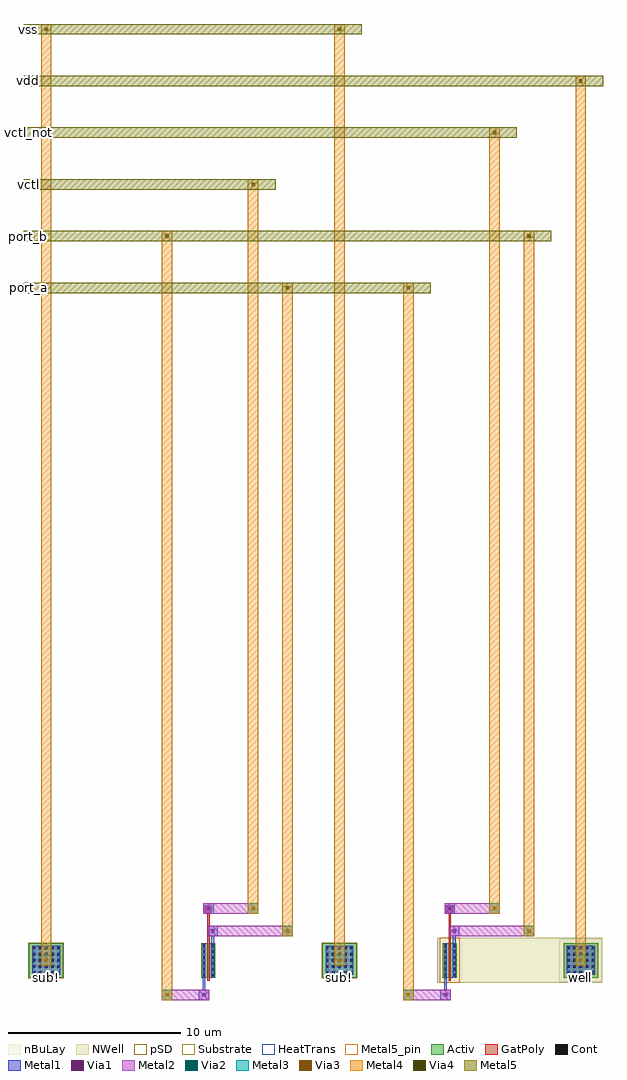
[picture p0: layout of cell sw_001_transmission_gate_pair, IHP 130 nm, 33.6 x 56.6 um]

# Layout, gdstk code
import gdstk
lib = gdstk.Library(unit=1e-6, precision=1e-09)
def R(c, l, rs):  # rectangles x0, y0, x1, y1
    for r in rs: c.add(gdstk.rectangle(r[:2], r[2:], *l))
def A(c, l, x, y, w, h, nx, ny, dx, dy):  # array of equal rectangles
    R(c, l, [(x+i*dx, y+j*dy, x+i*dx+w, y+j*dy+h) for i in range(nx) for j in range(ny)])
Activ = (1, 0)
GatPoly = (5, 0)
Cont = (6, 0)
Metal1 = (8, 0)
Metal2 = (10, 0)
pSD = (14, 0)
Via1 = (19, 0)
Via2 = (29, 0)
Metal3 = (30, 0)
NWell = (31, 0)
nBuLay = (32, 0)
Substrate = (40, 0)
Via3 = (49, 0)
Metal4 = (50, 0)
HeatTrans = (51, 0)
Via4 = (66, 0)
Metal5 = (67, 0)
Metal5_pin = (67, 2)

sw_001_transmission_gate = lib.new_cell('sw_001_transmission_gate_pair')
R(sw_001_transmission_gate, Activ, [(0,0,2,2), (10,0,10.3,0.3), (10,0,10.81,2), (10.51,0,10.81,0.3), (17,0,19,2), (24,0,24.3,0.3), (24,0,24.81,2), (24.51,0,24.81,0.3), (31,0,33,2)])
R(sw_001_transmission_gate, GatPoly, [(10.34,-0.18,10.47,2.18), (24.34,-0.18,24.47,2.18), (24.34,-0.18,24.47,2.18), (10.34,1.9,10.47,4.2), (24.34,1.9,24.47,4.2), (10.205,3.8,10.605,4.2), (24.205,3.8,24.605,4.2)])
A(sw_001_transmission_gate, Cont, 10.07, 0.07, 0.16, 0.16, 1, 6, 0, 0.34)
A(sw_001_transmission_gate, Cont, 10.58, 0.07, 0.16, 0.16, 1, 6, 0, 0.34)
A(sw_001_transmission_gate, Cont, 24.07, 0.07, 0.16, 0.16, 1, 6, 0, 0.34)
A(sw_001_transmission_gate, Cont, 24.58, 0.07, 0.16, 0.16, 1, 6, 0, 0.34)
A(sw_001_transmission_gate, Cont, 0.2, 0.2, 0.16, 0.16, 5, 5, 0.36, 0.36)
A(sw_001_transmission_gate, Cont, 17.2, 0.2, 0.16, 0.16, 5, 5, 0.36, 0.36)
A(sw_001_transmission_gate, Cont, 31.2, 0.2, 0.16, 0.16, 5, 5, 0.36, 0.36)
R(sw_001_transmission_gate, Cont, [(10.325,3.92,10.485,4.08), (24.325,3.92,24.485,4.08)])
R(sw_001_transmission_gate, Metal1, [(9.85,-1.3,10.45,-0.7), (23.85,-1.3,24.45,-0.7), (10.07,-1.08,10.23,0.08), (24.07,-1.08,24.23,0.08), (10.07,0,10.23,2), (10.58,0,10.74,2), (24.07,0,24.23,2), (24.07,0,24.23,2), (24.58,0,24.74,2), (24.58,0,24.74,2), (0.2,0.15,1.8,1.85), (17.2,0.15,18.8,1.85), (31.2,0.15,32.8,1.85), (0.2,0.2,1.8,1.8), (17.2,0.2,18.8,1.8), (0.7,0.7,1.3,1.3), (17.7,0.7,18.3,1.3), (31.7,0.7,32.3,1.3), (10.58,1.82,10.74,2.78), (24.58,1.82,24.74,2.78), (10.36,2.4,10.96,3), (24.36,2.4,24.96,3), (10.105,3.7,10.705,4.3), (10.105,3.7,10.705,4.3), (24.105,3.7,24.705,4.3), (24.105,3.7,24.705,4.3)])
R(sw_001_transmission_gate, Metal2, [(7.7,-1.3,8.3,-0.7), (7.7,-1.3,10.45,-0.7), (9.85,-1.3,10.45,-0.7), (21.7,-1.3,22.3,-0.7), (21.7,-1.3,24.45,-0.7), (23.85,-1.3,24.45,-0.7), (0.7,0.7,1.3,1.3), (0.7,0.7,1.3,1.3), (17.7,0.7,18.3,1.3), (17.7,0.7,18.3,1.3), (31.7,0.7,32.3,1.3), (31.7,0.7,32.3,1.3), (10.36,2.4,10.96,3), (10.36,2.4,15.3,3), (14.7,2.4,15.3,3), (24.36,2.4,24.96,3), (24.36,2.4,29.3,3), (28.7,2.4,29.3,3), (10.105,3.7,10.705,4.3), (10.105,3.7,13.3,4.3), (12.7,3.7,13.3,4.3), (24.105,3.7,24.705,4.3), (24.105,3.7,27.3,4.3), (26.7,3.7,27.3,4.3)])
R(sw_001_transmission_gate, pSD, [(23.82,-0.3,24.99,2.3), (-0.03,-0.03,2.03,2.03), (16.97,-0.03,19.03,2.03)])
R(sw_001_transmission_gate, Via1, [(10.055,-1.095,10.245,-0.905), (24.055,-1.095,24.245,-0.905), (0.905,0.905,1.095,1.095), (17.905,0.905,18.095,1.095), (31.905,0.905,32.095,1.095), (10.565,2.605,10.755,2.795), (24.565,2.605,24.755,2.795), (10.31,3.905,10.5,4.095), (24.31,3.905,24.5,4.095)])
R(sw_001_transmission_gate, Via2, [(7.905,-1.095,8.095,-0.905), (21.905,-1.095,22.095,-0.905), (0.905,0.905,1.095,1.095), (17.905,0.905,18.095,1.095), (31.905,0.905,32.095,1.095), (14.905,2.605,15.095,2.795), (28.905,2.605,29.095,2.795), (12.905,3.905,13.095,4.095), (26.905,3.905,27.095,4.095)])
R(sw_001_transmission_gate, Metal3, [(7.7,-1.3,8.3,-0.7), (7.7,-1.3,8.3,-0.7), (21.7,-1.3,22.3,-0.7), (21.7,-1.3,22.3,-0.7), (0.7,0.7,1.3,1.3), (0.7,0.7,1.3,1.3), (17.7,0.7,18.3,1.3), (17.7,0.7,18.3,1.3), (31.7,0.7,32.3,1.3), (31.7,0.7,32.3,1.3), (14.7,2.4,15.3,3), (14.7,2.4,15.3,3), (28.7,2.4,29.3,3), (28.7,2.4,29.3,3), (12.7,3.7,13.3,4.3), (12.7,3.7,13.3,4.3), (26.7,3.7,27.3,4.3), (26.7,3.7,27.3,4.3)])
R(sw_001_transmission_gate, NWell, [(23.69,-0.31,33.24,2.31), (23.69,-0.31,25.12,2.31), (30.76,-0.24,33.24,2.24), (31,0,33,2)])
R(sw_001_transmission_gate, nBuLay, [(30.76,-0.24,33.24,2.24)])
R(sw_001_transmission_gate, Substrate, [(0,0,2,2), (17,0,19,2)])
R(sw_001_transmission_gate, Via3, [(7.905,-1.095,8.095,-0.905), (21.905,-1.095,22.095,-0.905), (0.905,0.905,1.095,1.095), (17.905,0.905,18.095,1.095), (31.905,0.905,32.095,1.095), (14.905,2.605,15.095,2.795), (28.905,2.605,29.095,2.795), (12.905,3.905,13.095,4.095), (26.905,3.905,27.095,4.095)])
R(sw_001_transmission_gate, Metal4, [(7.7,-1.3,8.3,-0.7), (7.7,-1.3,8.3,43.3), (21.7,-1.3,22.3,-0.7), (21.7,-1.3,22.3,40.3), (0.7,0.7,1.3,1.3), (0.7,0.7,1.3,55.3), (17.7,0.7,18.3,1.3), (17.7,0.7,18.3,55.3), (31.7,0.7,32.3,1.3), (31.7,0.7,32.3,52.3), (14.7,2.4,15.3,3), (14.7,2.4,15.3,40.3), (28.7,2.4,29.3,3), (28.7,2.4,29.3,43.3), (12.7,3.7,13.3,4.3), (12.7,3.7,13.3,46.3), (26.7,3.7,27.3,4.3), (26.7,3.7,27.3,49.3), (14.7,39.7,15.3,40.3), (21.7,39.7,22.3,40.3), (7.7,42.7,8.3,43.3), (28.7,42.7,29.3,43.3), (12.7,45.7,13.3,46.3), (26.7,48.7,27.3,49.3), (31.7,51.7,32.3,52.3), (0.7,54.7,1.3,55.3), (17.7,54.7,18.3,55.3)])
R(sw_001_transmission_gate, HeatTrans, [(10.34,-0.18,10.47,2.18), (24.34,-0.18,24.47,2.18)])
R(sw_001_transmission_gate, Via4, [(14.905,39.905,15.095,40.095), (21.905,39.905,22.095,40.095), (7.905,42.905,8.095,43.095), (28.905,42.905,29.095,43.095), (12.905,45.905,13.095,46.095), (26.905,48.905,27.095,49.095), (31.905,51.905,32.095,52.095), (0.905,54.905,1.095,55.095), (17.905,54.905,18.095,55.095)])
R(sw_001_transmission_gate, Metal5, [(-0.3,39.7,23.3,40.3), (14.7,39.7,15.3,40.3), (21.7,39.7,22.3,40.3), (-0.3,42.7,30.3,43.3), (7.7,42.7,8.3,43.3), (28.7,42.7,29.3,43.3), (-0.3,45.7,14.3,46.3), (12.7,45.7,13.3,46.3), (-0.3,48.7,28.3,49.3), (26.7,48.7,27.3,49.3), (-0.3,51.7,33.3,52.3), (31.7,51.7,32.3,52.3), (-0.3,54.7,19.3,55.3), (0.7,54.7,1.3,55.3), (17.7,54.7,18.3,55.3)])
A(sw_001_transmission_gate, Metal5_pin, -0.3, 39.7, 0.6, 0.6, 1, 6, 0, 3)
sw_001_transmission_gate.add(gdstk.Label('sub!', (18,0.01), layer=63, texttype=0))
sw_001_transmission_gate.add(gdstk.Label('well', (32,0.01), layer=63, texttype=0))
sw_001_transmission_gate.add(gdstk.Label('sub!', (1,0.01), layer=63, texttype=0))
sw_001_transmission_gate.add(gdstk.Label('port_a', (0,40), layer=67, texttype=25))
sw_001_transmission_gate.add(gdstk.Label('port_b', (0,43), layer=67, texttype=25))
sw_001_transmission_gate.add(gdstk.Label('vctl', (0,46), layer=67, texttype=25))
sw_001_transmission_gate.add(gdstk.Label('vctl_not', (0,49), layer=67, texttype=25))
sw_001_transmission_gate.add(gdstk.Label('vdd', (0,52), layer=67, texttype=25))
sw_001_transmission_gate.add(gdstk.Label('vss', (0,55), layer=67, texttype=25))

lib.write_gds('sw_001_transmission_gate_pair.gds')
